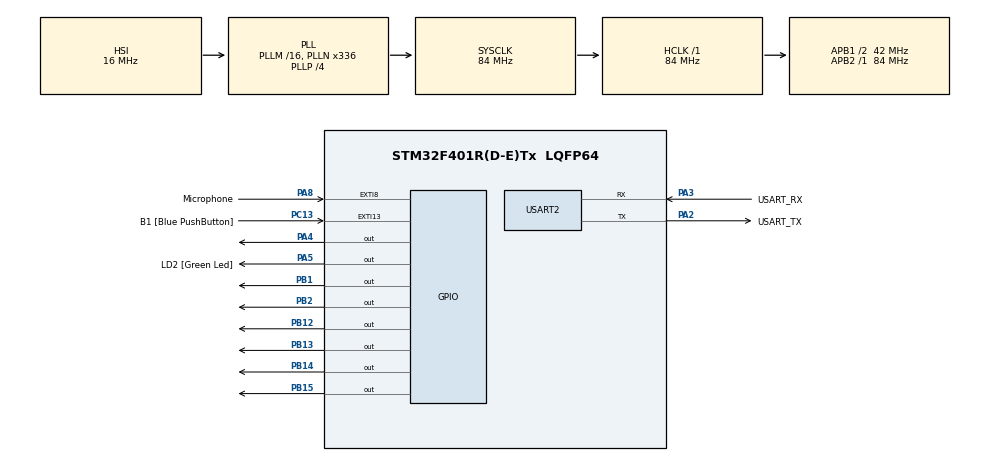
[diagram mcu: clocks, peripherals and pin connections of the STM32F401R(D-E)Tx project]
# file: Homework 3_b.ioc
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Mcu.Family=STM32F4
Mcu.Name=STM32F401R(D-E)Tx
Mcu.Package=LQFP64
NVIC.EXTI9_5_IRQn=true\:0\:0\:false\:false\:true\:true\:true\:true
NVIC.PriorityGroup=NVIC_PRIORITYGROUP_0
NVIC.TIM2_IRQn=true\:0\:0\:false\:false\:true\:true\:true\:true
PA13.GPIO_Label=TMS
PA13.Mode=Serial_Wire
PA13.Signal=SYS_JTMS-SWDIO
PA14.GPIO_Label=TCK
PA14.Mode=Serial_Wire
PA14.Signal=SYS_JTCK-SWCLK
PA2.GPIO_Label=USART_TX
PA2.GPIO_Mode=GPIO_MODE_AF_PP
PA2.GPIO_PuPd=GPIO_NOPULL
PA2.GPIO_Speed=GPIO_SPEED_FREQ_LOW
PA2.Mode=Asynchronous
PA2.Signal=USART2_TX
PA3.GPIO_Label=USART_RX
PA3.GPIO_Mode=GPIO_MODE_AF_PP
PA3.GPIO_PuPd=GPIO_NOPULL
PA3.GPIO_Speed=GPIO_SPEED_FREQ_LOW
PA3.Mode=Asynchronous
PA3.Signal=USART2_RX
PA4.Signal=GPIO_Output
PA5.GPIO_Label=LD2 [Green Led]
PA5.GPIO_Mode=GPIO_MODE_OUTPUT_PP
PA5.GPIO_PuPd=GPIO_NOPULL
PA5.GPIO_Speed=GPIO_SPEED_FREQ_LOW
PA5.Signal=GPIO_Output
PA8.GPIO_Label=Microphone
PA8.Signal=GPXTI8
PB1.Signal=GPIO_Output
PB12.Signal=GPIO_Output
PB13.Signal=GPIO_Output
PB14.Signal=GPIO_Output
PB15.Signal=GPIO_Output
PB2.Signal=GPIO_Output
PB3.GPIO_Label=SWO
PB3.Signal=SYS_JTDO-SWO
PC13-ANTI_TAMP.GPIO_Label=B1 [Blue PushButton]
PC13-ANTI_TAMP.GPIO_ModeDefaultEXTI=GPIO_MODE_IT_FALLING
PC13-ANTI_TAMP.GPIO_PuPd=GPIO_NOPULL
PC13-ANTI_TAMP.Signal=GPXTI13
PC14-OSC32_IN.Mode=LSE-External-Oscillator
PC14-OSC32_IN.Signal=RCC_OSC32_IN
PC15-OSC32_OUT.Mode=LSE-External-Oscillator
PC15-OSC32_OUT.Signal=RCC_OSC32_OUT
PH0\ -\ OSC_IN.Mode=HSE-External-Clock-Source
PH0\ -\ OSC_IN.Signal=RCC_OSC_IN
PH1\ -\ OSC_OUT.Mode=HSE-External-Clock-Source
PH1\ -\ OSC_OUT.Signal=RCC_OSC_OUT
ProjectManager.HeapSize=0x200
ProjectManager.StackSize=0x400
ProjectManager.TargetToolchain=STM32CubeIDE
RCC.48MHZClocksFreq_Value=48000000
RCC.AHBFreq_Value=84000000
RCC.APB1CLKDivider=RCC_HCLK_DIV2
RCC.APB1Freq_Value=42000000
RCC.APB1TimFreq_Value=84000000
RCC.APB2Freq_Value=84000000
RCC.APB2TimFreq_Value=84000000
RCC.CortexFreq_Value=84000000
RCC.HCLKFreq_Value=84000000
RCC.HSE_VALUE=8000000
RCC.HSI_VALUE=16000000
RCC.PLLN=336
RCC.PLLP=RCC_PLLP_DIV4
RCC.PLLQ=7
RCC.SYSCLKFreq_VALUE=84000000
RCC.SYSCLKSource=RCC_SYSCLKSOURCE_PLLCLK
RCC.VCOOutputFreq_Value=336000000
TIM2.Period=10000-1
TIM2.Prescaler=8400-1
USART2.VirtualMode=VM_ASYNC
VP_TIM2_VS_ClockSourceINT.Mode=Internal
board=NUCLEO-F401RE

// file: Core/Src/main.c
/* USER CODE BEGIN Header */
/**
 ******************************************************************************
 * @file           : main.c
 * @brief          : Main program body
 ******************************************************************************
 * @attention
 *
 * Copyright (c) 2023 STMicroelectronics.
 * All rights reserved.
 *
 * This software is licensed under terms that can be found in the LICENSE file
 * in the root directory of this software component.
 * If no LICENSE file comes with this software, it is provided AS-IS.
 *
 ******************************************************************************
 */
/* USER CODE END Header */
#include "main.h"

/* USER CODE BEGIN Includes */
#include "PMDB16_LCD.h"
/* USER CODE END Includes */

TIM_HandleTypeDef htim2;

UART_HandleTypeDef huart2;

void SystemClock_Config(void);
static void MX_GPIO_Init(void);
static void MX_USART2_UART_Init(void);
static void MX_TIM2_Init(void);
/* USER CODE BEGIN PFP */
void displayNextMember();
/* USER CODE END PFP */

/* USER CODE BEGIN 0 */

char *names[] = { "Alberto", "Federico", "Giuseppe", "Matteo", "Pier Francesco",
		"Vincenzo" };
int member_num = 6;
int current_member = 0;
int first = 1;
int mode = 0; // 0 for alternating, 1 for blinking
int status = 0; // 0 for blink off, 1 for blink on

void HAL_GPIO_EXTI_Callback(uint16_t GPIO_Pin) {
	switch (GPIO_Pin) {
	case Microphone_Pin:
		// Switch mode
		mode = !mode;
		status = 0;
		break;
	default:
		break;
	}
}

/* USER CODE END 0 */

int main(void) {

	/* MCU Configuration--------------------------------------------------------*/

	/* Reset of all peripherals, Initializes the Flash interface and the Systick. */
	HAL_Init();

	/* Configure the system clock */
	SystemClock_Config();

	/* Initialize all configured peripherals */
	MX_GPIO_Init();
	MX_USART2_UART_Init();
	MX_TIM2_Init();
	/* USER CODE BEGIN 2 */

	lcd_initialize();

	HAL_TIM_Base_Start_IT(&htim2);

	/* USER CODE END 2 */

	/* Infinite loop */
	while (1) {

	}
}

void SystemClock_Config(void) {
	RCC_OscInitTypeDef RCC_OscInitStruct = { 0 };
	RCC_ClkInitTypeDef RCC_ClkInitStruct = { 0 };

	/** Configure the main internal regulator output voltage
	 */
	__HAL_RCC_PWR_CLK_ENABLE();
	__HAL_PWR_VOLTAGESCALING_CONFIG(PWR_REGULATOR_VOLTAGE_SCALE2);

	/** Initializes the RCC Oscillators according to the specified parameters
	 * in the RCC_OscInitTypeDef structure.
	 */
	RCC_OscInitStruct.OscillatorType = RCC_OSCILLATORTYPE_HSI;
	RCC_OscInitStruct.HSIState = RCC_HSI_ON;
	RCC_OscInitStruct.HSICalibrationValue = RCC_HSICALIBRATION_DEFAULT;
	RCC_OscInitStruct.PLL.PLLState = RCC_PLL_ON;
	RCC_OscInitStruct.PLL.PLLSource = RCC_PLLSOURCE_HSI;
	RCC_OscInitStruct.PLL.PLLM = 16;
	RCC_OscInitStruct.PLL.PLLN = 336;
	RCC_OscInitStruct.PLL.PLLP = RCC_PLLP_DIV4;
	RCC_OscInitStruct.PLL.PLLQ = 7;
	if (HAL_RCC_OscConfig(&RCC_OscInitStruct) != HAL_OK) {
		Error_Handler();
	}

	/** Initializes the CPU, AHB and APB buses clocks
	 */
	RCC_ClkInitStruct.ClockType = RCC_CLOCKTYPE_HCLK | RCC_CLOCKTYPE_SYSCLK
			| RCC_CLOCKTYPE_PCLK1 | RCC_CLOCKTYPE_PCLK2;
	RCC_ClkInitStruct.SYSCLKSource = RCC_SYSCLKSOURCE_PLLCLK;
	RCC_ClkInitStruct.AHBCLKDivider = RCC_SYSCLK_DIV1;
	RCC_ClkInitStruct.APB1CLKDivider = RCC_HCLK_DIV2;
	RCC_ClkInitStruct.APB2CLKDivider = RCC_HCLK_DIV1;

	if (HAL_RCC_ClockConfig(&RCC_ClkInitStruct, FLASH_LATENCY_2) != HAL_OK) {
		Error_Handler();
	}
}

static void MX_TIM2_Init(void) {

	TIM_ClockConfigTypeDef sClockSourceConfig = { 0 };
	TIM_MasterConfigTypeDef sMasterConfig = { 0 };

	htim2.Instance = TIM2;
	htim2.Init.Prescaler = 8400 - 1;
	htim2.Init.CounterMode = TIM_COUNTERMODE_UP;
	htim2.Init.Period = 10000 - 1;
	htim2.Init.ClockDivision = TIM_CLOCKDIVISION_DIV1;
	htim2.Init.AutoReloadPreload = TIM_AUTORELOAD_PRELOAD_DISABLE;
	if (HAL_TIM_Base_Init(&htim2) != HAL_OK) {
		Error_Handler();
	}
	sClockSourceConfig.ClockSource = TIM_CLOCKSOURCE_INTERNAL;
	if (HAL_TIM_ConfigClockSource(&htim2, &sClockSourceConfig) != HAL_OK) {
		Error_Handler();
	}
	sMasterConfig.MasterOutputTrigger = TIM_TRGO_RESET;
	sMasterConfig.MasterSlaveMode = TIM_MASTERSLAVEMODE_DISABLE;
	if (HAL_TIMEx_MasterConfigSynchronization(&htim2, &sMasterConfig)
			!= HAL_OK) {
		Error_Handler();
	}

}

static void MX_USART2_UART_Init(void) {

	huart2.Instance = USART2;
	huart2.Init.BaudRate = 115200;
	huart2.Init.WordLength = UART_WORDLENGTH_8B;
	huart2.Init.StopBits = UART_STOPBITS_1;
	huart2.Init.Parity = UART_PARITY_NONE;
	huart2.Init.Mode = UART_MODE_TX_RX;
	huart2.Init.HwFlowCtl = UART_HWCONTROL_NONE;
	huart2.Init.OverSampling = UART_OVERSAMPLING_16;
	if (HAL_UART_Init(&huart2) != HAL_OK) {
		Error_Handler();
	}

}

static void MX_GPIO_Init(void) {
	GPIO_InitTypeDef GPIO_InitStruct = { 0 };

	/* GPIO Ports Clock Enable */
	__HAL_RCC_GPIOC_CLK_ENABLE();
	__HAL_RCC_GPIOH_CLK_ENABLE();
	__HAL_RCC_GPIOA_CLK_ENABLE();
	__HAL_RCC_GPIOB_CLK_ENABLE();

	/*Configure GPIO pin Output Level */
	HAL_GPIO_WritePin(GPIOA, GPIO_PIN_4 | LD2_Pin, GPIO_PIN_RESET);

	/*Configure GPIO pin Output Level */
	HAL_GPIO_WritePin(GPIOB,
			GPIO_PIN_1 | GPIO_PIN_2 | GPIO_PIN_12 | GPIO_PIN_13 | GPIO_PIN_14
					| GPIO_PIN_15, GPIO_PIN_RESET);

	/*Configure GPIO pin : B1_Pin */
	GPIO_InitStruct.Pin = B1_Pin;
	GPIO_InitStruct.Mode = GPIO_MODE_IT_FALLING;
	GPIO_InitStruct.Pull = GPIO_NOPULL;
	HAL_GPIO_Init(B1_GPIO_Port, &GPIO_InitStruct);

	/*Configure GPIO pins : PA4 LD2_Pin */
	GPIO_InitStruct.Pin = GPIO_PIN_4 | LD2_Pin;
	GPIO_InitStruct.Mode = GPIO_MODE_OUTPUT_PP;
	GPIO_InitStruct.Pull = GPIO_NOPULL;
	GPIO_InitStruct.Speed = GPIO_SPEED_FREQ_LOW;
	HAL_GPIO_Init(GPIOA, &GPIO_InitStruct);

	/*Configure GPIO pins : PB1 PB2 PB12 PB13
	 PB14 PB15 */
	GPIO_InitStruct.Pin = GPIO_PIN_1 | GPIO_PIN_2 | GPIO_PIN_12 | GPIO_PIN_13
			| GPIO_PIN_14 | GPIO_PIN_15;
	GPIO_InitStruct.Mode = GPIO_MODE_OUTPUT_PP;
	GPIO_InitStruct.Pull = GPIO_NOPULL;
	GPIO_InitStruct.Speed = GPIO_SPEED_FREQ_LOW;
	HAL_GPIO_Init(GPIOB, &GPIO_InitStruct);

	/*Configure GPIO pin : Microphone_Pin */
	GPIO_InitStruct.Pin = Microphone_Pin;
	GPIO_InitStruct.Mode = GPIO_MODE_IT_RISING;
	GPIO_InitStruct.Pull = GPIO_NOPULL;
	HAL_GPIO_Init(Microphone_GPIO_Port, &GPIO_InitStruct);

	/* EXTI interrupt init*/
	HAL_NVIC_SetPriority(EXTI9_5_IRQn, 0, 0);
	HAL_NVIC_EnableIRQ(EXTI9_5_IRQn);

}

/* USER CODE BEGIN 4 */

void HAL_TIM_PeriodElapsedCallback(TIM_HandleTypeDef *htim) {
	if (htim == &htim2) {
		displayNextMember();
	}
}

void displayNextMember() {
	if (!mode) {
		// Check is done here as otherwise the first name is not displayed correctly:
		// The first and the second name are displayed toghether, without having the
		// top line blank for 1 sec
		if (first) {
			lcd_println(names[current_member], 1);
			first = 0;
			return;
		}

		lcd_println(names[current_member], 0);

		current_member += 1;

		if (current_member >= member_num)
			current_member = 0;

		lcd_println(names[current_member], 1);
	} else {
		lcd_clear();

		if (status) {
			lcd_println(names[current_member], 1);
		}

		status = !status;
	}
}

/* USER CODE END 4 */

void Error_Handler(void) {
	__disable_irq();
	while (1) {
	}
}
